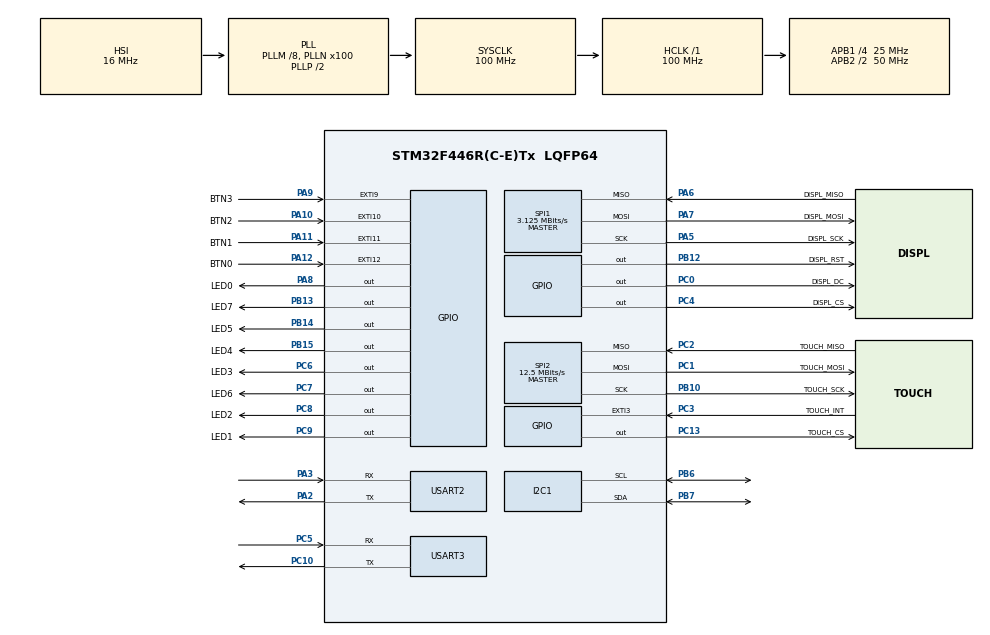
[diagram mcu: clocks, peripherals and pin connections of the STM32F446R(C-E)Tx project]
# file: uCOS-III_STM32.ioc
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Mcu.Family=STM32F4
Mcu.Name=STM32F446R(C-E)Tx
Mcu.Package=LQFP64
NVIC.EXTI15_10_IRQn=true\:5\:0\:true\:false\:true\:true\:true\:true
NVIC.EXTI3_IRQn=true\:5\:0\:true\:false\:true\:true\:true\:true
NVIC.EXTI9_5_IRQn=true\:5\:0\:true\:false\:true\:true\:true\:true
NVIC.PriorityGroup=NVIC_PRIORITYGROUP_4
NVIC.RCC_IRQn=true\:0\:0\:false\:false\:true\:true\:false\:true
NVIC.SPI1_IRQn=true\:3\:0\:true\:false\:true\:true\:true\:true
PA10.GPIO_Label=BTN2
PA10.GPIO_ModeDefaultEXTI=GPIO_MODE_IT_FALLING
PA10.GPIO_PuPd=GPIO_NOPULL
PA10.Signal=GPXTI10
PA11.GPIO_Label=BTN1
PA11.GPIO_ModeDefaultEXTI=GPIO_MODE_IT_FALLING
PA11.GPIO_PuPd=GPIO_NOPULL
PA11.Signal=GPXTI11
PA12.GPIO_Label=BTN0
PA12.GPIO_PuPd=GPIO_NOPULL
PA12.Signal=GPXTI12
PA2.Mode=Asynchronous
PA2.Signal=USART2_TX
PA3.Mode=Asynchronous
PA3.Signal=USART2_RX
PA5.GPIO_Label=DISPL_SCK
PA5.Mode=Full_Duplex_Master
PA5.Signal=SPI1_SCK
PA6.GPIO_Label=DISPL_MISO
PA6.Mode=Full_Duplex_Master
PA6.Signal=SPI1_MISO
PA7.GPIO_Label=DISPL_MOSI
PA7.Mode=Full_Duplex_Master
PA7.Signal=SPI1_MOSI
PA8.GPIO_Label=LED0
PA8.GPIO_ModeDefaultOutputPP=GPIO_MODE_OUTPUT_PP
PA8.GPIO_PuPd=GPIO_PULLUP
PA8.Signal=GPIO_Output
PA9.GPIO_Label=BTN3
PA9.GPIO_ModeDefaultEXTI=GPIO_MODE_IT_FALLING
PA9.GPIO_PuPd=GPIO_NOPULL
PA9.Signal=GPXTI9
PB10.GPIO_Label=TOUCH_SCK
PB10.Mode=Full_Duplex_Master
PB10.Signal=SPI2_SCK
PB12.GPIO_Label=DISPL_RST
PB12.Signal=GPIO_Output
PB13.GPIO_Label=LED7
PB13.GPIO_ModeDefaultOutputPP=GPIO_MODE_OUTPUT_PP
PB13.GPIO_PuPd=GPIO_PULLUP
PB13.Signal=GPIO_Output
PB14.GPIO_Label=LED5
PB14.GPIO_PuPd=GPIO_PULLUP
PB14.Signal=GPIO_Output
PB15.GPIO_Label=LED4
PB15.GPIO_PuPd=GPIO_PULLUP
PB15.Signal=GPIO_Output
PB6.Mode=I2C
PB6.Signal=I2C1_SCL
PB7.Mode=I2C
PB7.Signal=I2C1_SDA
PC0.GPIO_Label=DISPL_DC
PC0.Signal=GPIO_Output
PC1.GPIO_Label=TOUCH_MOSI
PC1.Mode=Full_Duplex_Master
PC1.Signal=SPI2_MOSI
PC10.Mode=Asynchronous
PC10.Signal=USART3_TX
PC13.GPIO_Label=TOUCH_CS
PC13.PinState=GPIO_PIN_SET
PC13.Signal=GPIO_Output
PC14-OSC32_IN.Mode=LSE-External-Oscillator
PC14-OSC32_IN.Signal=RCC_OSC32_IN
PC15-OSC32_OUT.Mode=LSE-External-Oscillator
PC15-OSC32_OUT.Signal=RCC_OSC32_OUT
PC2.GPIO_Label=TOUCH_MISO
PC2.Mode=Full_Duplex_Master
PC2.Signal=SPI2_MISO
PC3.GPIO_Label=TOUCH_INT
PC3.Signal=GPXTI3
PC4.GPIO_Label=DISPL_CS
PC4.Signal=GPIO_Output
PC5.Mode=Asynchronous
PC5.Signal=USART3_RX
PC6.GPIO_Label=LED3
PC6.GPIO_PuPd=GPIO_PULLUP
PC6.Signal=GPIO_Output
PC7.GPIO_Label=LED6
PC7.GPIO_PuPd=GPIO_PULLUP
PC7.Signal=GPIO_Output
PC8.GPIO_Label=LED2
PC8.GPIO_PuPd=GPIO_PULLUP
PC8.Signal=GPIO_Output
PC9.GPIO_Label=LED1
PC9.GPIO_PuPd=GPIO_PULLUP
PC9.Signal=GPIO_Output
PH0-OSC_IN.Mode=HSE-External-Oscillator
PH0-OSC_IN.Signal=RCC_OSC_IN
PH1-OSC_OUT.Mode=HSE-External-Oscillator
PH1-OSC_OUT.Signal=RCC_OSC_OUT
ProjectManager.HeapSize=0x200
ProjectManager.StackSize=0x400
ProjectManager.TargetToolchain=STM32CubeIDE
RCC.AHBFreq_Value=100000000
RCC.APB1CLKDivider=RCC_HCLK_DIV4
RCC.APB1Freq_Value=25000000
RCC.APB1TimFreq_Value=50000000
RCC.APB2CLKDivider=RCC_HCLK_DIV2
RCC.APB2Freq_Value=50000000
RCC.APB2TimFreq_Value=100000000
RCC.CortexFreq_Value=100000000
RCC.HCLKFreq_Value=100000000
RCC.PLLM=8
RCC.PLLN=100
RCC.RCC_RTC_Clock_SourceVirtual=RCC_RTCCLKSOURCE_LSE
RCC.SYSCLKFreq_VALUE=100000000
RCC.SYSCLKSource=RCC_SYSCLKSOURCE_PLLCLK
RCC.USBFreq_Value=100000000
RCC.VCOOutputFreq_Value=200000000
SPI1.BaudRatePrescaler=SPI_BAUDRATEPRESCALER_16
SPI1.CLKPolarity=SPI_POLARITY_LOW
SPI1.CalculateBaudRate=3.125 MBits/s
SPI1.Direction=SPI_DIRECTION_2LINES
SPI1.FirstBit=SPI_FIRSTBIT_MSB
SPI1.Mode=SPI_MODE_MASTER
SPI1.VirtualType=VM_MASTER
SPI2.BaudRatePrescaler=SPI_BAUDRATEPRESCALER_2
SPI2.CalculateBaudRate=12.5 MBits/s
SPI2.Direction=SPI_DIRECTION_2LINES
SPI2.Mode=SPI_MODE_MASTER
SPI2.VirtualType=VM_MASTER
TIM10.Prescaler=1
USART2.VirtualMode=VM_ASYNC
USART3.VirtualMode=VM_ASYNC
VP_TIM10_VS_ClockSourceINT.Mode=Enable_Timer
board=custom

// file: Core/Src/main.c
/* USER CODE BEGIN Header */
/**
 ******************************************************************************
 * @file           : main.c
 * @brief          : Main program body
 ******************************************************************************
 * @attention
 *
 * Copyright (c) 2023 STMicroelectronics.
 * All rights reserved.
 *
 * This software is licensed under terms that can be found in the LICENSE file
 * in the root directory of this software component.
 * If no LICENSE file comes with this software, it is provided AS-IS.
 *
 ******************************************************************************
 */
/* USER CODE END Header */
#include "main.h"

/* USER CODE BEGIN Includes */
#include <string.h>
/* USER CODE END Includes */

/* USER CODE BEGIN PM */
uint8_t countTask2 = 0;
uint16_t i = 0;
uint16_t n = 0;
//color test

/* USER CODE END PM */

I2C_HandleTypeDef hi2c1;

SPI_HandleTypeDef hspi1;
SPI_HandleTypeDef hspi2;

TIM_HandleTypeDef htim10;

UART_HandleTypeDef huart2;
UART_HandleTypeDef huart3;

/* USER CODE BEGIN PV */

HAL_StatusTypeDef COM_port_serial_print(const uint8_t* data) {
    return HAL_UART_Transmit(&huart2, data, strlen((const char *)data) + 1, 100);
}
/* USER CODE END PV */

void SystemClock_Config(void);
static void MX_GPIO_Init(void);
static void MX_I2C1_Init(void);
static void MX_SPI2_Init(void);
static void MX_USART3_UART_Init(void);
static void MX_TIM10_Init(void);
static void MX_USART2_UART_Init(void);
static void MX_SPI1_Init(void);

/* USER CODE BEGIN 0 */
OS_TCB OSSetupTaskTcb;
OS_TCB OSTest2TaskTcb;
OS_TCB OSTest3TaskTcb;

CPU_STK_SIZE OSCfg_SetupStkBasePtr[512];
CPU_STK_SIZE OSCfg_Test2StkBasePtr[2048];
CPU_STK_SIZE OSCfg_Test3StkBasePtr[2048];

void  OS_SetupTask (void  *p_arg){

  	OS_ERR err = OS_ERR_NONE;
	OS_CPU_SysTickInitFreq(SystemCoreClock);

	//init buttons and leds
	Btn_Init(BTN0_GPIO_Port,BTN0_Pin,BUTTON_MODE_POL,"Btn0");
	Btn_Init(BTN1_GPIO_Port,BTN1_Pin,BUTTON_MODE_POL,"Btn1");
	Btn_Init(BTN2_GPIO_Port,BTN2_Pin,BUTTON_MODE_POL,"Btn2");
	Btn_Init(BTN3_GPIO_Port,BTN3_Pin,BUTTON_MODE_POL,"Btn3");

	//init display
	Displ_Init(Displ_Orientat_0);
	Displ_CLS(RED);

	//init Leds
	Led_Init();

	//del
	OSTaskDel((OS_TCB *)0,&err);
}

void OS_Test2Task(void *p_arg) {
//	OS_ERR err = OS_ERR_NONE;

	while (1) {

		if (Btn_getState(BTN3_GPIO_Port, BTN3_Pin) == GPIO_PIN_SET) {    //check the state of button3
				countTask2 = (countTask2 * 2) + 1;						//turn on a led
				ledOut(countTask2);
		}

		if (Btn_getState(BTN0_GPIO_Port, BTN0_Pin) == GPIO_PIN_SET) {   //check the state of button0
				countTask2 = (countTask2 / 2); 							//turn off a led
				ledOut(countTask2);
		}
		n = 0;
	}
}

void OS_Test3Task(void *p_arg){

	OS_ERR err = OS_ERR_NONE;
	static int r = 50;
	static _Bool upCount = 1;
	while (1) {
		if (n < 1) {
			if(r >= 65000) r = 50;
			if ((r >= 200) || (r < 50)) upCount = !upCount;
			if(upCount){
				Displ_drawCircle(120, 160, r, WHITE);
				r += 5;
			}
			else{
				Displ_drawCircle(120, 160, r, RED);
				r -= 5;
			}
			n++;
		}
	}
}
/* USER CODE END 0 */

int main(void)
{
  /* USER CODE BEGIN 1 */
	OS_ERR err = OS_ERR_NONE;
  /* USER CODE END 1 */

  /* MCU Configuration--------------------------------------------------------*/

  /* Reset of all peripherals, Initializes the Flash interface and the Systick. */
  HAL_Init();

  /* USER CODE BEGIN Init */
  //SystemInit();
  /* USER CODE END Init */

  /* Configure the system clock */
  SystemClock_Config();

  /* Initialize all configured peripherals */
  MX_GPIO_Init();
  MX_I2C1_Init();
  MX_SPI2_Init();
  MX_USART3_UART_Init();
  MX_TIM10_Init();
  MX_USART2_UART_Init();
  MX_SPI1_Init();
  /* USER CODE BEGIN 2 */

  SysTick->CTRL  = 0;

  __disable_irq();
  CPU_IntDis(); 					/*disable interrupt*/
  OSInit(&err);

  if(err != OS_ERR_NONE){
	  Error_Handler();
  }

  OS_ERR p_err = OS_ERR_NONE;

  OS_ERR p_err2 = OS_ERR_NONE;

  OS_ERR p_err3 = OS_ERR_NONE;

  OS_ERR err_rr_en = OS_ERR_NONE;

  OSSchedRoundRobinCfg(1,0,&err_rr_en);

  OSTaskCreate((OS_TCB     *)&OSSetupTaskTcb,
                     (CPU_CHAR   *)((void *)"uC/OS-III Setup Task"),
                     (OS_TASK_PTR)OS_SetupTask,
                     (void       *)0,
                     (OS_PRIO     )8u,
                     (CPU_STK    *)&OSCfg_SetupStkBasePtr[0],
                     (CPU_STK_SIZE)512u / 10,
                     (CPU_STK_SIZE)512u,
                     (OS_MSG_QTY  )0u,
                     (OS_TICK     )0u,
                     (void       *)0u,
                     (OS_OPT      )(OS_OPT_TASK_STK_CHK | OS_OPT_TASK_STK_CLR),
                     (OS_ERR     *)p_err);

  OSTaskCreate((OS_TCB     *)&OSTest2TaskTcb,
                       (CPU_CHAR   *)((void *)"uC/OS-III Test 2 Task"),
                       (OS_TASK_PTR)OS_Test2Task,
                       (void       *)0,
                       (OS_PRIO     )10u,
                       (CPU_STK    *)&OSCfg_Test2StkBasePtr[0],
                       (CPU_STK_SIZE)2048u / 10,
                       (CPU_STK_SIZE)2048u,
                       (OS_MSG_QTY  )0u,
                       (OS_TICK     )0u,
                       (void       *)0u,
                       (OS_OPT      )(OS_OPT_TASK_STK_CHK | OS_OPT_TASK_STK_CLR),
                       (OS_ERR     *)p_err2);

  OSTaskCreate((OS_TCB     *)&OSTest3TaskTcb,
                         (CPU_CHAR   *)((void *)"uC/OS-III Test 3 Task"),
                         (OS_TASK_PTR)OS_Test3Task,
                         (void       *)0,
                         (OS_PRIO     )10u,
                         (CPU_STK    *)&OSCfg_Test3StkBasePtr[0],
                         (CPU_STK_SIZE)2048u / 10,
                         (CPU_STK_SIZE)2048u,
                         (OS_MSG_QTY  )0u,
                         (OS_TICK     )0u,
                         (void       *)0u,
                         (OS_OPT      )(OS_OPT_TASK_STK_CHK | OS_OPT_TASK_STK_CLR),
                         (OS_ERR     *)p_err3);

    CPU_Init();
	OSStart(&err);
  /* USER CODE END 2 */

  /* Infinite loop */
	while (1) {

  }
}

void SystemClock_Config(void)
{
  RCC_OscInitTypeDef RCC_OscInitStruct = {0};
  RCC_ClkInitTypeDef RCC_ClkInitStruct = {0};

  /** Configure the main internal regulator output voltage
  */
  __HAL_RCC_PWR_CLK_ENABLE();
  __HAL_PWR_VOLTAGESCALING_CONFIG(PWR_REGULATOR_VOLTAGE_SCALE3);

  /** Initializes the RCC Oscillators according to the specified parameters
  * in the RCC_OscInitTypeDef structure.
  */
  RCC_OscInitStruct.OscillatorType = RCC_OSCILLATORTYPE_HSI;
  RCC_OscInitStruct.HSIState = RCC_HSI_ON;
  RCC_OscInitStruct.HSICalibrationValue = RCC_HSICALIBRATION_DEFAULT;
  RCC_OscInitStruct.PLL.PLLState = RCC_PLL_ON;
  RCC_OscInitStruct.PLL.PLLSource = RCC_PLLSOURCE_HSI;
  RCC_OscInitStruct.PLL.PLLM = 8;
  RCC_OscInitStruct.PLL.PLLN = 100;
  RCC_OscInitStruct.PLL.PLLP = RCC_PLLP_DIV2;
  RCC_OscInitStruct.PLL.PLLQ = 2;
  RCC_OscInitStruct.PLL.PLLR = 2;
  if (HAL_RCC_OscConfig(&RCC_OscInitStruct) != HAL_OK)
  {
    Error_Handler();
  }

  /** Initializes the CPU, AHB and APB buses clocks
  */
  RCC_ClkInitStruct.ClockType = RCC_CLOCKTYPE_HCLK|RCC_CLOCKTYPE_SYSCLK
                              |RCC_CLOCKTYPE_PCLK1|RCC_CLOCKTYPE_PCLK2;
  RCC_ClkInitStruct.SYSCLKSource = RCC_SYSCLKSOURCE_PLLCLK;
  RCC_ClkInitStruct.AHBCLKDivider = RCC_SYSCLK_DIV1;
  RCC_ClkInitStruct.APB1CLKDivider = RCC_HCLK_DIV4;
  RCC_ClkInitStruct.APB2CLKDivider = RCC_HCLK_DIV2;

  if (HAL_RCC_ClockConfig(&RCC_ClkInitStruct, FLASH_LATENCY_3) != HAL_OK)
  {
    Error_Handler();
  }
}

static void MX_I2C1_Init(void)
{

  hi2c1.Instance = I2C1;
  hi2c1.Init.ClockSpeed = 100000;
  hi2c1.Init.DutyCycle = I2C_DUTYCYCLE_2;
  hi2c1.Init.OwnAddress1 = 0;
  hi2c1.Init.AddressingMode = I2C_ADDRESSINGMODE_7BIT;
  hi2c1.Init.DualAddressMode = I2C_DUALADDRESS_DISABLE;
  hi2c1.Init.OwnAddress2 = 0;
  hi2c1.Init.GeneralCallMode = I2C_GENERALCALL_DISABLE;
  hi2c1.Init.NoStretchMode = I2C_NOSTRETCH_DISABLE;
  if (HAL_I2C_Init(&hi2c1) != HAL_OK)
  {
    Error_Handler();
  }

}

static void MX_SPI1_Init(void)
{

  /* SPI1 parameter configuration*/
  hspi1.Instance = SPI1;
  hspi1.Init.Mode = SPI_MODE_MASTER;
  hspi1.Init.Direction = SPI_DIRECTION_2LINES;
  hspi1.Init.DataSize = SPI_DATASIZE_8BIT;
  hspi1.Init.CLKPolarity = SPI_POLARITY_LOW;
  hspi1.Init.CLKPhase = SPI_PHASE_1EDGE;
  hspi1.Init.NSS = SPI_NSS_SOFT;
  hspi1.Init.BaudRatePrescaler = SPI_BAUDRATEPRESCALER_16;
  hspi1.Init.FirstBit = SPI_FIRSTBIT_MSB;
  hspi1.Init.TIMode = SPI_TIMODE_DISABLE;
  hspi1.Init.CRCCalculation = SPI_CRCCALCULATION_DISABLE;
  hspi1.Init.CRCPolynomial = 10;
  if (HAL_SPI_Init(&hspi1) != HAL_OK)
  {
    Error_Handler();
  }

}

static void MX_SPI2_Init(void)
{

  /* SPI2 parameter configuration*/
  hspi2.Instance = SPI2;
  hspi2.Init.Mode = SPI_MODE_MASTER;
  hspi2.Init.Direction = SPI_DIRECTION_2LINES;
  hspi2.Init.DataSize = SPI_DATASIZE_8BIT;
  hspi2.Init.CLKPolarity = SPI_POLARITY_LOW;
  hspi2.Init.CLKPhase = SPI_PHASE_1EDGE;
  hspi2.Init.NSS = SPI_NSS_SOFT;
  hspi2.Init.BaudRatePrescaler = SPI_BAUDRATEPRESCALER_2;
  hspi2.Init.FirstBit = SPI_FIRSTBIT_MSB;
  hspi2.Init.TIMode = SPI_TIMODE_DISABLE;
  hspi2.Init.CRCCalculation = SPI_CRCCALCULATION_DISABLE;
  hspi2.Init.CRCPolynomial = 10;
  if (HAL_SPI_Init(&hspi2) != HAL_OK)
  {
    Error_Handler();
  }

}

static void MX_TIM10_Init(void)
{

  htim10.Instance = TIM10;
  htim10.Init.Prescaler = 1;
  htim10.Init.CounterMode = TIM_COUNTERMODE_UP;
  htim10.Init.Period = 65535;
  htim10.Init.ClockDivision = TIM_CLOCKDIVISION_DIV1;
  htim10.Init.AutoReloadPreload = TIM_AUTORELOAD_PRELOAD_DISABLE;
  if (HAL_TIM_Base_Init(&htim10) != HAL_OK)
  {
    Error_Handler();
  }

}

static void MX_USART2_UART_Init(void)
{

  huart2.Instance = USART2;
  huart2.Init.BaudRate = 115200;
  huart2.Init.WordLength = UART_WORDLENGTH_8B;
  huart2.Init.StopBits = UART_STOPBITS_1;
  huart2.Init.Parity = UART_PARITY_NONE;
  huart2.Init.Mode = UART_MODE_TX_RX;
  huart2.Init.HwFlowCtl = UART_HWCONTROL_NONE;
  huart2.Init.OverSampling = UART_OVERSAMPLING_16;
  if (HAL_UART_Init(&huart2) != HAL_OK)
  {
    Error_Handler();
  }

}

static void MX_USART3_UART_Init(void)
{

  huart3.Instance = USART3;
  huart3.Init.BaudRate = 115200;
  huart3.Init.WordLength = UART_WORDLENGTH_8B;
  huart3.Init.StopBits = UART_STOPBITS_1;
  huart3.Init.Parity = UART_PARITY_NONE;
  huart3.Init.Mode = UART_MODE_TX_RX;
  huart3.Init.HwFlowCtl = UART_HWCONTROL_NONE;
  huart3.Init.OverSampling = UART_OVERSAMPLING_16;
  if (HAL_UART_Init(&huart3) != HAL_OK)
  {
    Error_Handler();
  }

}

static void MX_GPIO_Init(void)
{
  GPIO_InitTypeDef GPIO_InitStruct = {0};

  /* GPIO Ports Clock Enable */
  __HAL_RCC_GPIOC_CLK_ENABLE();
  __HAL_RCC_GPIOH_CLK_ENABLE();
  __HAL_RCC_GPIOA_CLK_ENABLE();
  __HAL_RCC_GPIOB_CLK_ENABLE();

  /*Configure GPIO pin Output Level */
  HAL_GPIO_WritePin(TOUCH_CS_GPIO_Port, TOUCH_CS_Pin, GPIO_PIN_SET);

  /*Configure GPIO pin Output Level */
  HAL_GPIO_WritePin(GPIOC, DISPL_DC_Pin|DISPL_CS_Pin|LED3_Pin|LED6_Pin
                          |LED2_Pin|LED1_Pin, GPIO_PIN_RESET);

  /*Configure GPIO pin Output Level */
  HAL_GPIO_WritePin(GPIOB, DISPL_RST_Pin|LED7_Pin|LED5_Pin|LED4_Pin, GPIO_PIN_RESET);

  /*Configure GPIO pin Output Level */
  HAL_GPIO_WritePin(LED0_GPIO_Port, LED0_Pin, GPIO_PIN_RESET);

  /*Configure GPIO pins : TOUCH_CS_Pin DISPL_DC_Pin DISPL_CS_Pin */
  GPIO_InitStruct.Pin = TOUCH_CS_Pin|DISPL_DC_Pin|DISPL_CS_Pin;
  GPIO_InitStruct.Mode = GPIO_MODE_OUTPUT_PP;
  GPIO_InitStruct.Pull = GPIO_NOPULL;
  GPIO_InitStruct.Speed = GPIO_SPEED_FREQ_LOW;
  HAL_GPIO_Init(GPIOC, &GPIO_InitStruct);

  /*Configure GPIO pin : TOUCH_INT_Pin */
  GPIO_InitStruct.Pin = TOUCH_INT_Pin;
  GPIO_InitStruct.Mode = GPIO_MODE_IT_RISING;
  GPIO_InitStruct.Pull = GPIO_NOPULL;
  HAL_GPIO_Init(TOUCH_INT_GPIO_Port, &GPIO_InitStruct);

  /*Configure GPIO pin : DISPL_RST_Pin */
  GPIO_InitStruct.Pin = DISPL_RST_Pin;
  GPIO_InitStruct.Mode = GPIO_MODE_OUTPUT_PP;
  GPIO_InitStruct.Pull = GPIO_NOPULL;
  GPIO_InitStruct.Speed = GPIO_SPEED_FREQ_LOW;
  HAL_GPIO_Init(DISPL_RST_GPIO_Port, &GPIO_InitStruct);

  /*Configure GPIO pins : LED7_Pin LED5_Pin LED4_Pin */
  GPIO_InitStruct.Pin = LED7_Pin|LED5_Pin|LED4_Pin;
  GPIO_InitStruct.Mode = GPIO_MODE_OUTPUT_PP;
  GPIO_InitStruct.Pull = GPIO_PULLUP;
  GPIO_InitStruct.Speed = GPIO_SPEED_FREQ_LOW;
  HAL_GPIO_Init(GPIOB, &GPIO_InitStruct);

  /*Configure GPIO pins : LED3_Pin LED6_Pin LED2_Pin LED1_Pin */
  GPIO_InitStruct.Pin = LED3_Pin|LED6_Pin|LED2_Pin|LED1_Pin;
  GPIO_InitStruct.Mode = GPIO_MODE_OUTPUT_PP;
  GPIO_InitStruct.Pull = GPIO_PULLUP;
  GPIO_InitStruct.Speed = GPIO_SPEED_FREQ_LOW;
  HAL_GPIO_Init(GPIOC, &GPIO_InitStruct);

  /*Configure GPIO pin : LED0_Pin */
  GPIO_InitStruct.Pin = LED0_Pin;
  GPIO_InitStruct.Mode = GPIO_MODE_OUTPUT_PP;
  GPIO_InitStruct.Pull = GPIO_PULLUP;
  GPIO_InitStruct.Speed = GPIO_SPEED_FREQ_LOW;
  HAL_GPIO_Init(LED0_GPIO_Port, &GPIO_InitStruct);

  /*Configure GPIO pins : BTN3_Pin BTN2_Pin BTN1_Pin */
  GPIO_InitStruct.Pin = BTN3_Pin|BTN2_Pin|BTN1_Pin;
  GPIO_InitStruct.Mode = GPIO_MODE_IT_FALLING;
  GPIO_InitStruct.Pull = GPIO_NOPULL;
  HAL_GPIO_Init(GPIOA, &GPIO_InitStruct);

  /*Configure GPIO pin : BTN0_Pin */
  GPIO_InitStruct.Pin = BTN0_Pin;
  GPIO_InitStruct.Mode = GPIO_MODE_IT_RISING;
  GPIO_InitStruct.Pull = GPIO_NOPULL;
  HAL_GPIO_Init(BTN0_GPIO_Port, &GPIO_InitStruct);

  /* EXTI interrupt init*/
  HAL_NVIC_SetPriority(EXTI3_IRQn, 5, 0);
  HAL_NVIC_EnableIRQ(EXTI3_IRQn);

  HAL_NVIC_SetPriority(EXTI9_5_IRQn, 5, 0);
  HAL_NVIC_EnableIRQ(EXTI9_5_IRQn);

  HAL_NVIC_SetPriority(EXTI15_10_IRQn, 5, 0);
  HAL_NVIC_EnableIRQ(EXTI15_10_IRQn);

}

/* USER CODE BEGIN 4 */
void HAL_GPIO_EXTI_Callback(uint16_t GPIO_Pin)
{
  //se premo il pulsante:
	//che il pin premuto sia valido
	//faccio qualcosa
	//tipo bestemmiare

	if (GPIO_Pin == TOUCH_INT_Pin){
		Touch_HandlePenDownInterrupt();
	}
	else{
		Btn_Callback(GPIO_Pin);
	}
}

//void HAL_GPIO_EXTI_Falling_Callback(uint16_t GPIO_Pin){
//	HAL_GPIO_EXTI_Callback(GPIO_Pin);
//}
//
//void HAL_GPIO_EXTI_Rising_Callback(uint16_t GPIO_Pin){
//	HAL_GPIO_EXTI_Callback(GPIO_Pin);
//}

/* USER CODE END 4 */

void Error_Handler(void)
{
	__disable_irq();
	while (1) {
	}
}
